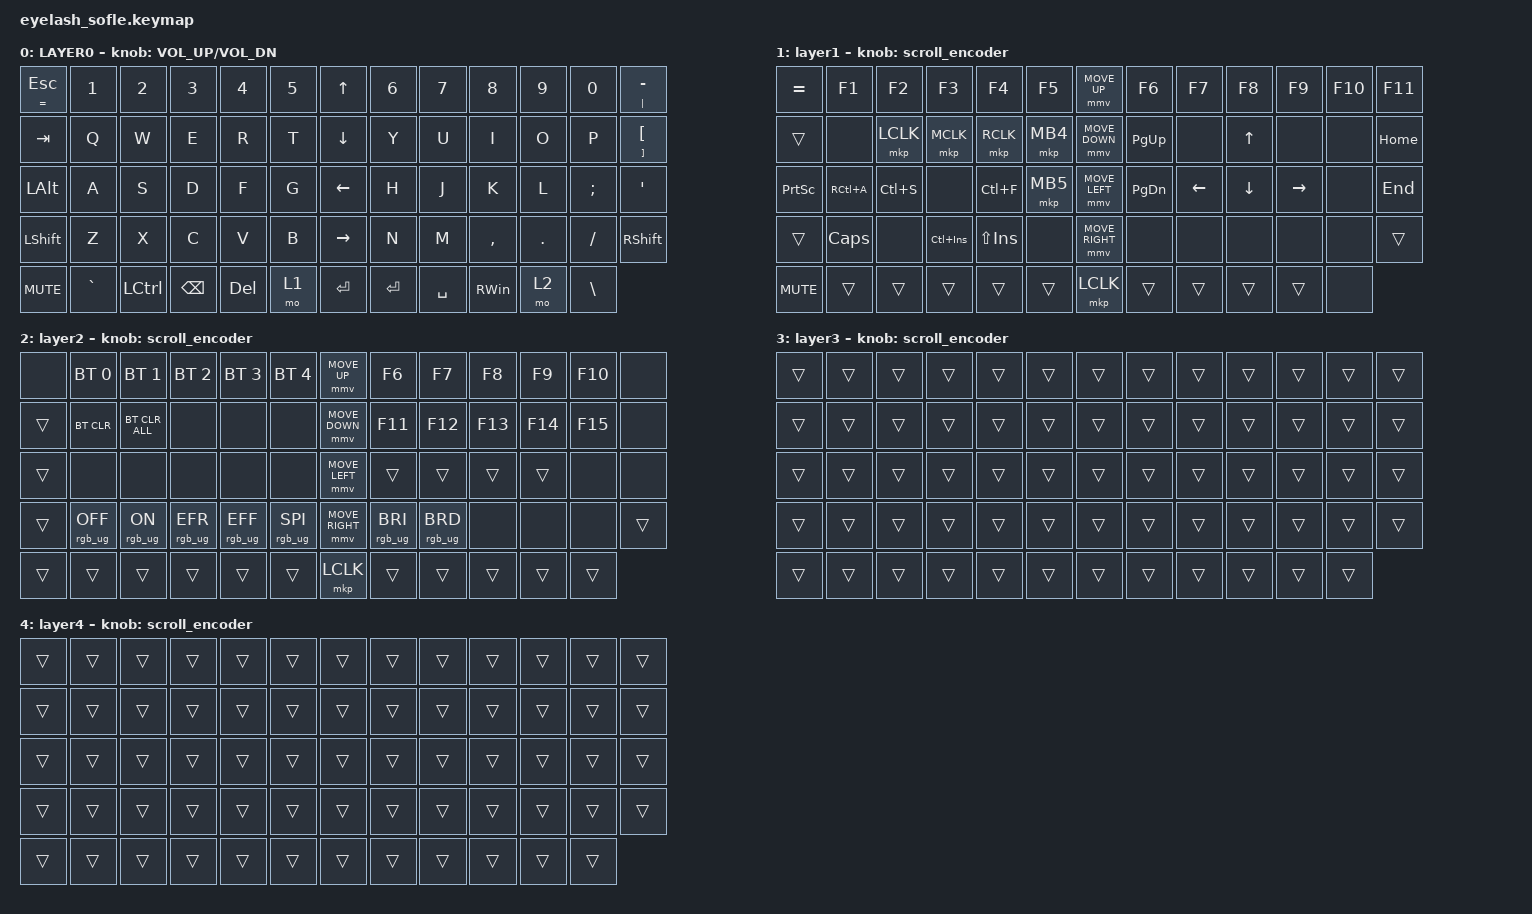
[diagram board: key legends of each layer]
#define ZMK_POINTING_DEFAULT_MOVE_VAL 1200  // 600
#define ZMK_POINTING_DEFAULT_SCRL_VAL 25   // 10

#include <input/processors.dtsi>
#include <zephyr/dt-bindings/input/input-event-codes.h>
#include <behaviors.dtsi>
#include <dt-bindings/zmk/bt.h>
#include <dt-bindings/zmk/keys.h>
#include <dt-bindings/zmk/pointing.h>
#include <dt-bindings/zmk/rgb.h>

&mmv_input_listener { input-processors = <&zip_xy_scaler 2 1>; };

&msc_input_listener { input-processors = <&zip_scroll_scaler 2 1>; };

&msc {
    acceleration-exponent = <1>;      // 0
    time-to-max-speed-ms = <100>;       // 300
    delay-ms = <0>;                   // 0
};

&mmv {
    time-to-max-speed-ms = <500>;
    acceleration-exponent = <1>;
    trigger-period-ms = <16>;
};

&soft_off { hold-time-ms = <2000>; };

/ {
    scroll_encoder: scroll_encoder {
        compatible = "zmk,behavior-sensor-rotate";
        #sensor-binding-cells = <0>;
        bindings = <&msc SCRL_DOWN>, <&msc SCRL_UP>;

        tap-ms = <100>;
    };

    behaviors {
    };

    combos {
        compatible = "zmk,combos";

        softoff {
            bindings = <&soft_off>;
            key-positions = <14 28 40>;
        };
    };

    keymap {
        compatible = "zmk,keymap";

        layer0 {
            bindings = <
&mt EQUAL ESC  &kp N1     &kp N2     &kp N3         &kp N4      &kp N5    &kp UP_ARROW     &kp N6     &kp N7     &kp N8         &kp N9   &kp N0         &mt PIPE MINUS
&kp TAB        &kp Q      &kp W      &kp E          &kp R       &kp T     &kp DOWN_ARROW   &kp Y      &kp U      &kp I          &kp O    &kp P          &mt RIGHT_BRACKET LEFT_BRACKET
&kp LEFT_ALT   &kp A      &kp S      &kp D          &kp F       &kp G     &kp LEFT_ARROW   &kp H      &kp J      &kp K          &kp L    &kp SEMI       &kp APOS
&kp LSHFT      &kp Z      &kp X      &kp C          &kp V       &kp B     &kp RIGHT_ARROW  &kp N      &kp M      &kp COMMA      &kp DOT  &kp FSLH       &kp RSHFT
&kp C_MUTE     &kp GRAVE  &kp LCTRL  &kp BACKSPACE  &kp DELETE  &mo 1     &kp ENTER        &kp ENTER  &kp SPACE  &kp RIGHT_WIN  &mo 2    &kp BACKSLASH
            >;

            sensor-bindings = <&inc_dec_kp C_VOLUME_UP C_VOL_DN>;
            display-name = "LAYER0";
        };

        layer_1 {
            bindings = <
&kp EQUAL        &kp F1     &kp F2     &kp F3       &kp F4          &kp F5      &mmv MOVE_UP     &kp F6     &kp F7    &kp F8    &kp F9     &kp F10  &kp F11
&trans           &none      &mkp LCLK  &mkp MCLK    &mkp RCLK       &mkp MB4    &mmv MOVE_DOWN   &kp PG_UP  &none     &kp UP    &none      &none    &kp HOME
&kp PRINTSCREEN  &kp RC(A)  &kp LC(S)  &none        &kp LC(F)       &mkp MB5    &mmv MOVE_LEFT   &kp PG_DN  &kp LEFT  &kp DOWN  &kp RIGHT  &none    &kp END
&trans           &kp CAPS   &none      &kp LC(INS)  &kp LS(INSERT)  &none       &mmv MOVE_RIGHT  &none      &none     &none     &none      &none    &trans
&kp C_MUTE       &trans     &trans     &trans       &trans          &trans      &mkp LCLK        &trans     &trans    &trans    &trans     &none
            >;

            display-name = "layer1";
            sensor-bindings = <&scroll_encoder>;
        };

        layer_2 {
            bindings = <
&none   &bt BT_SEL 0     &bt BT_SEL 1    &bt BT_SEL 2     &bt BT_SEL 3     &bt BT_SEL 4       &mmv MOVE_UP     &kp F6           &kp F7           &kp F8   &kp F9   &kp F10  &none
&trans  &bt BT_CLR       &bt BT_CLR_ALL  &none            &none            &none              &mmv MOVE_DOWN   &kp F11          &kp F12          &kp F13  &kp F14  &kp F15  &none
&trans  &none            &none           &none            &none            &none              &mmv MOVE_LEFT   &trans           &trans           &trans   &trans   &none    &none
&trans  &rgb_ug RGB_OFF  &rgb_ug RGB_ON  &rgb_ug RGB_EFR  &rgb_ug RGB_EFF  &rgb_ug RGB_SPI    &mmv MOVE_RIGHT  &rgb_ug RGB_BRI  &rgb_ug RGB_BRD  &none    &none    &none    &trans
&trans  &trans           &trans          &trans           &trans           &trans             &mkp LCLK        &trans           &trans           &trans   &trans   &trans
            >;

            display-name = "layer2";
            sensor-bindings = <&scroll_encoder>;
        };

        layer_3 {
            bindings = <
&trans  &trans  &trans  &trans  &trans  &trans    &trans  &trans  &trans  &trans  &trans  &trans  &trans
&trans  &trans  &trans  &trans  &trans  &trans    &trans  &trans  &trans  &trans  &trans  &trans  &trans
&trans  &trans  &trans  &trans  &trans  &trans    &trans  &trans  &trans  &trans  &trans  &trans  &trans
&trans  &trans  &trans  &trans  &trans  &trans    &trans  &trans  &trans  &trans  &trans  &trans  &trans
&trans  &trans  &trans  &trans  &trans  &trans    &trans  &trans  &trans  &trans  &trans  &trans
            >;

            display-name = "layer3";
            sensor-bindings = <&scroll_encoder>;
        };

        layer_4 {
            bindings = <
&trans  &trans  &trans  &trans  &trans  &trans    &trans  &trans  &trans  &trans  &trans  &trans  &trans
&trans  &trans  &trans  &trans  &trans  &trans    &trans  &trans  &trans  &trans  &trans  &trans  &trans
&trans  &trans  &trans  &trans  &trans  &trans    &trans  &trans  &trans  &trans  &trans  &trans  &trans
&trans  &trans  &trans  &trans  &trans  &trans    &trans  &trans  &trans  &trans  &trans  &trans  &trans
&trans  &trans  &trans  &trans  &trans  &trans    &trans  &trans  &trans  &trans  &trans  &trans
            >;

            display-name = "layer4";
            sensor-bindings = <&scroll_encoder>;
        };
    };
};
